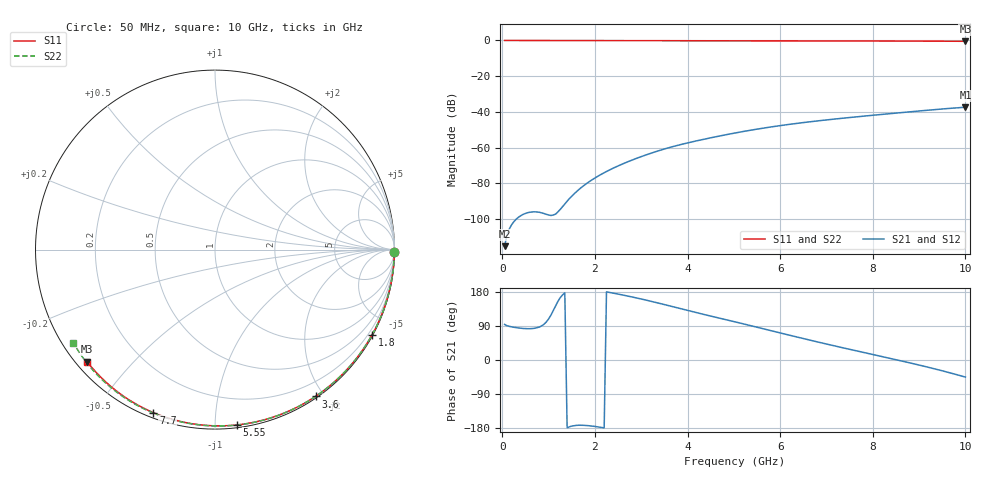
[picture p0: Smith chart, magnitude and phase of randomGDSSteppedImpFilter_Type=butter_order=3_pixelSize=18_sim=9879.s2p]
! freq	dB(S11)	phase(S11)	dB(S12)	phase(S12)
!  dB(S21)	phase(S21)	dB(S22)	phase(S22)
!S-par simulation data
#  GHz  S  DB  R 50
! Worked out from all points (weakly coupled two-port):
!   200 points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, 50 MHz to 10 GHz, reference 50 ohm
!   highest |S21| = -37.40 dB at 10 GHz (marker M1); lowest = -115.2 dB at 50 MHz (marker M2)
!   lowest |S11| = -0.5 dB at 10 GHz (marker M3), VSWR 37.16, Z = 1.54 - j18.8 ohm
!   |S11| at or under -10 dB: nowhere
!   |S22| runs from -0.5 to 0.0 dB; largest |S21 - S12| = 0
!   S11 on the Smith chart (normalised r, x): 50 MHz: open; 1.8 GHz: 0.03, -3.94; 3.6 GHz: 0.02, -1.90; 5.55 GHz: 0.02, -1.13; 7.7 GHz: 0.02, -0.69; 10 GHz: 0.03, -0.38
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0.05  -0.00 -0.8  -115.20 93.9  -115.20 93.9  -0.00 -0.9
0.5  -0.01 -8.0  -96.88 82.9  -96.88 82.9  -0.01 -8.5
0.9  -0.02 -14.4  -96.91 94.3  -96.91 94.3  -0.02 -15.3
1.3  -0.03 -20.7  -93.09 171.6  -93.09 171.6  -0.03 -21.9
1.75  -0.04 -27.7  -81.46 -172.3  -81.46 -172.3  -0.04 -29.4
1.8  -0.04 -28.5  -80.49 -172.7  -80.49 -172.7  -0.04 -30.2
1.85  -0.04 -29.2  -79.57 -173.2  -79.57 -173.2  -0.04 -31.0
2.05  -0.04 -32.3  -76.24 -176.2  -76.24 -176.2  -0.04 -34.3
2.2  -0.04 -34.6  -74.06 -179.1  -74.06 -179.1  -0.05 -36.7
2.5  -0.05 -39.2  -70.26 174.0  -70.26 174.0  -0.05 -41.6
2.95  -0.06 -46.0  -65.52 162.4  -65.52 162.4  -0.06 -48.8
3.4  -0.07 -52.7  -61.56 149.3  -61.56 149.3  -0.07 -55.8
3.6  -0.07 -55.6  -60.03 143.1  -60.03 143.1  -0.08 -58.9
4.2  -0.09 -64.3  -56.20 124.7  -56.20 124.7  -0.10 -68.0
5.05  -0.12 -76.1  -51.70 100.0  -51.70 100.0  -0.12 -80.5
5.55  -0.14 -82.9  -49.46 85.0  -49.46 85.0  -0.14 -87.7
6.1  -0.16 -90.3  -47.33 68.4  -47.33 68.4  -0.17 -95.4
6.7  -0.19 -98.1  -45.37 50.7  -45.37 50.7  -0.20 -103.6
7.7  -0.26 -110.7  -42.64 22.7  -42.64 22.7  -0.27 -116.9
8.35  -0.31 -118.8  -41.04 5.0  -41.04 5.0  -0.32 -125.4
9.2  -0.39 -129.1  -39.03 -19.2  -39.03 -19.2  -0.40 -136.4
10  -0.47 -138.8  -37.40 -45.1  -37.40 -45.1  -0.50 -146.7
